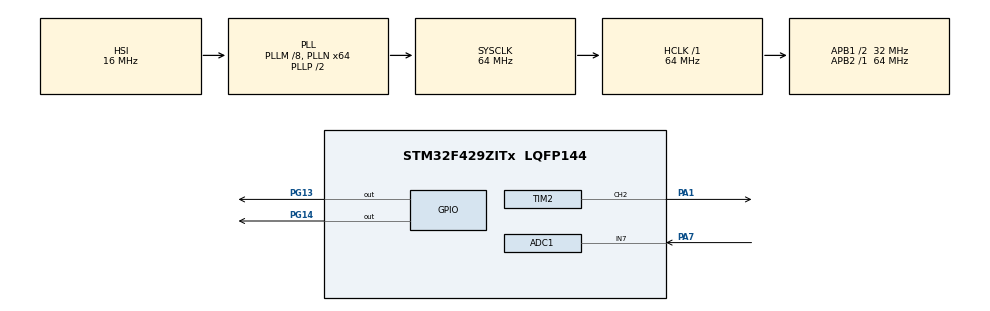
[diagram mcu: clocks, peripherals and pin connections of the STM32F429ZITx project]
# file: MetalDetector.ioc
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ADC1.Channel-0\#ChannelRegularConversion=ADC_CHANNEL_7
ADC1.NbrOfConversionFlag=1
ADC1.Rank-0\#ChannelRegularConversion=1
ADC1.SamplingTime-0\#ChannelRegularConversion=ADC_SAMPLETIME_3CYCLES
ADC1.ScanConvMode=ENABLE
ADC1.master=1
Mcu.Family=STM32F4
Mcu.Name=STM32F429ZITx
Mcu.Package=LQFP144
NVIC.PriorityGroup=NVIC_PRIORITYGROUP_4
NVIC.TIM1_UP_TIM10_IRQn=true\:0\:0\:false\:false\:true\:true
PA1.Signal=S_TIM2_CH2
PA7.Signal=ADCx_IN7
PG13.Signal=GPIO_Output
PG14.Signal=GPIO_Output
PH0/OSC_IN.Mode=HSE-External-Oscillator
PH0/OSC_IN.Signal=RCC_OSC_IN
PH1/OSC_OUT.Mode=HSE-External-Oscillator
PH1/OSC_OUT.Signal=RCC_OSC_OUT
ProjectManager.HeapSize=0x200
ProjectManager.StackSize=0x400
ProjectManager.TargetToolchain=EWARM
RCC.48MHZClocksFreq_Value=32000000
RCC.AHBFreq_Value=64000000
RCC.APB1CLKDivider=RCC_HCLK_DIV2
RCC.APB1Freq_Value=32000000
RCC.APB1TimFreq_Value=64000000
RCC.APB2Freq_Value=64000000
RCC.APB2TimFreq_Value=64000000
RCC.CortexFreq_Value=64000000
RCC.HCLKFreq_Value=64000000
RCC.HSE_VALUE=25000000
RCC.HSI_VALUE=16000000
RCC.LSE_VALUE=32768
RCC.PLLM=8
RCC.PLLN=64
RCC.SYSCLKFreq_VALUE=64000000
RCC.SYSCLKSource=RCC_SYSCLKSOURCE_PLLCLK
RCC.VCOOutputFreq_Value=128000000
SH.ADCx_IN7.0=ADC1_IN7,IN7
SH.S_TIM2_CH2.0=TIM2_CH2,PWM Generation2 CH2
TIM1.Channel-Output\ Compare1\ No\ Output=TIM_CHANNEL_1
TIM1.Period=1999
TIM2.Channel-PWM\ Generation2\ CH2=TIM_CHANNEL_2
TIM2.Period=63999
TIM2.Pulse-PWM\ Generation2\ CH2=31999
VP_TIM1_VS_no_output1.Mode=Output Compare1 No Output
board=MetalDetector

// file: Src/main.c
/**
  ******************************************************************************
  * @file           : main.c
  * @brief          : Main program body
  ******************************************************************************
  ** This notice applies to any and all portions of this file
  * that are not between comment pairs USER CODE BEGIN and
  * USER CODE END. Other portions of this file, whether
  * inserted by the user or by software development tools
  * are owned by their respective copyright owners.
  *
  * COPYRIGHT(c) 2021 STMicroelectronics
  *
  * Redistribution and use in source and binary forms, with or without modification,
  * are permitted provided that the following conditions are met:
  *   1. Redistributions of source code must retain the above copyright notice,
  *      this list of conditions and the following disclaimer.
  *   2. Redistributions in binary form must reproduce the above copyright notice,
  *      this list of conditions and the following disclaimer in the documentation
  *      and/or other materials provided with the distribution.
  *   3. Neither the name of STMicroelectronics nor the names of its contributors
  *      may be used to endorse or promote products derived from this software
  *      without specific prior written permission.
  *
  * THIS SOFTWARE IS PROVIDED BY THE COPYRIGHT HOLDERS AND CONTRIBUTORS "AS IS"
  * AND ANY EXPRESS OR IMPLIED WARRANTIES, INCLUDING, BUT NOT LIMITED TO, THE
  * IMPLIED WARRANTIES OF MERCHANTABILITY AND FITNESS FOR A PARTICULAR PURPOSE ARE
  * DISCLAIMED. IN NO EVENT SHALL THE COPYRIGHT HOLDER OR CONTRIBUTORS BE LIABLE
  * FOR ANY DIRECT, INDIRECT, INCIDENTAL, SPECIAL, EXEMPLARY, OR CONSEQUENTIAL
  * DAMAGES (INCLUDING, BUT NOT LIMITED TO, PROCUREMENT OF SUBSTITUTE GOODS OR
  * SERVICES; LOSS OF USE, DATA, OR PROFITS; OR BUSINESS INTERRUPTION) HOWEVER
  * CAUSED AND ON ANY THEORY OF LIABILITY, WHETHER IN CONTRACT, STRICT LIABILITY,
  * OR TORT (INCLUDING NEGLIGENCE OR OTHERWISE) ARISING IN ANY WAY OUT OF THE USE
  * OF THIS SOFTWARE, EVEN IF ADVISED OF THE POSSIBILITY OF SUCH DAMAGE.
  *
  ******************************************************************************
  */
#include "main.h"
#include "stm32f4xx_hal.h"

#include "stm32f4xx.h"
//#include "stm32f4xx_spi.h"
#include "defines.h"
#include "tm_stm32f4_ili9341_ltdc.h"
#include "tm_stm32f4_fonts.h"
#include "tm_stm32f4_delay.h"

/* USER CODE BEGIN Includes */

#include "fft.h"

/* USER CODE END Includes */

ADC_HandleTypeDef hadc1;

TIM_HandleTypeDef htim1;
TIM_HandleTypeDef htim2;

/* USER CODE BEGIN PV */
/* Private variables ---------------------------------------------------------*/

/* USER CODE END PV */

void SystemClock_Config(void);
static void MX_GPIO_Init(void);
static void MX_ADC1_Init(void);
static void MX_TIM1_Init(void);
static void MX_TIM2_Init(void);

void HAL_TIM_MspPostInit(TIM_HandleTypeDef *htim);

/* USER CODE BEGIN PFP */
/* Private function prototypes -----------------------------------------------*/

/* USER CODE END PFP */

/* USER CODE BEGIN 0 */

#define BufferSize 4096

#define PartSize 1024

#define BinaryLog 12

#define Half BufferSize >> 1

float AdcBuffer[BufferSize];

float ReBuffer[BufferSize];
float ImBuffer[BufferSize];

unsigned int Index = 0;

unsigned int IsReady = 1;

float Sqrt(float x)
{
	if(x <= 0.0f)
	{
		return 0.0f;
	}

	float a = 3.162278f;

	if(x >= 500.0f)
	{
		a = 31.62278f;
	}

	if(x >= 50000.0f)
	{
		a = 316.2278f;
	}

	for(char i=0; i<7; ++i)
	{
		a = 0.5f*(a+x/a);

		if(a*a == x)
		{
      break;
		}
	}

	return a;
}

void SetBuffers()
{
  for(int i=0; i<BufferSize; ++i)
  {
    AdcBuffer[i] = 0.0f;
    ReBuffer[i] = 0.0f;
    ImBuffer[i] = 0.0f;
  }
}

void ShiftAdcBuffer()
{
  for(int i=0; i<BufferSize; ++i)
  {
    ReBuffer[i] = AdcBuffer[i];
    ImBuffer[i] = 0.0f;
  }

  for(int i=0; i<BufferSize-PartSize; ++i)
  {
  	AdcBuffer[i] = AdcBuffer[i+PartSize];
  }

  for(int i=BufferSize-PartSize; i<BufferSize; ++i)
  {
  	AdcBuffer[i] = 0;
  }

  Index = BufferSize-PartSize;
}

void Compute()
{
  if(FFT(ReBuffer, ImBuffer, BufferSize, BinaryLog, FT_DIRECT) == 1)
  {
    HAL_GPIO_WritePin(GPIOG, GPIO_PIN_14, GPIO_PIN_RESET);

    float max = 0.0f;

    float middle = 0.0f;

    int index = 0;

    for(int i=0; i<8; ++i)
    {
      ImBuffer[i] = 0.0;
    }

    for(int i=Half; i<BufferSize; ++i)
    {
      ImBuffer[i] = 0.0;
    }

    for(int i=8; i<Half; ++i)
    {
      float value = Sqrt(ReBuffer[i]*ReBuffer[i] + ImBuffer[i]*ImBuffer[i]);

      middle += value;

      if(value > max)
      {
        max = value;

        index = i;
      }

      ImBuffer[i] = value;
    }

    ImBuffer[0] = max;

    ImBuffer[1] = index;

    ImBuffer[2] = middle;

    ImBuffer[3] = ImBuffer[256];

    middle /= Half;

    HAL_GPIO_WritePin(GPIOG, GPIO_PIN_13, GPIO_PIN_RESET);

    if(ImBuffer[256] > 10.0f*middle)
    {
       HAL_GPIO_WritePin(GPIOG, GPIO_PIN_13, GPIO_PIN_SET);
    }

    //if(index >= 635 && index <= 645)
    //{
    //  HAL_GPIO_WritePin(GPIOG, GPIO_PIN_13, GPIO_PIN_SET);
    //}
  }
  else
  {
    HAL_GPIO_WritePin(GPIOG, GPIO_PIN_14, GPIO_PIN_SET);
  }
}

void UpdateBufferValue()
{
  if(Index == BufferSize)
  {
    if(IsReady)
    {
      IsReady = 0;
      ShiftAdcBuffer();
      Compute();
      IsReady = 1;
    }
  }
  else
  {
    HAL_ADC_Start(&hadc1);
    AdcBuffer[Index] = (unsigned short)HAL_ADC_GetValue(&hadc1);
    HAL_ADC_Stop(&hadc1);
    ++Index;
  }
}

/* USER CODE END 0 */

int main(void)
{
  /* USER CODE BEGIN 1 */

  SetBuffers();

  /* USER CODE END 1 */

  /* MCU Configuration----------------------------------------------------------*/

  /* Reset of all peripherals, Initializes the Flash interface and the Systick. */
  HAL_Init();

  /* Configure the system clock */
  SystemClock_Config();

  /* Initialize all configured peripherals */
  MX_GPIO_Init();
  MX_ADC1_Init();
  MX_TIM1_Init();
  MX_TIM2_Init();
  /* USER CODE BEGIN 2 */

  HAL_TIM_PWM_Start(&htim2, TIM_CHANNEL_2);

  HAL_TIM_Base_Start_IT(&htim1);

  /* USER CODE END 2 */

  /* Infinite loop */
  while (1)
  {

  }

}

void SystemClock_Config(void)
{

  RCC_OscInitTypeDef RCC_OscInitStruct;
  RCC_ClkInitTypeDef RCC_ClkInitStruct;

    /**Configure the main internal regulator output voltage
    */
  __HAL_RCC_PWR_CLK_ENABLE();

  __HAL_PWR_VOLTAGESCALING_CONFIG(PWR_REGULATOR_VOLTAGE_SCALE3);

    /**Initializes the CPU, AHB and APB busses clocks
    */
  RCC_OscInitStruct.OscillatorType = RCC_OSCILLATORTYPE_HSI;
  RCC_OscInitStruct.HSIState = RCC_HSI_ON;
  RCC_OscInitStruct.HSICalibrationValue = 16;
  RCC_OscInitStruct.PLL.PLLState = RCC_PLL_ON;
  RCC_OscInitStruct.PLL.PLLSource = RCC_PLLSOURCE_HSI;
  RCC_OscInitStruct.PLL.PLLM = 8;
  RCC_OscInitStruct.PLL.PLLN = 64;
  RCC_OscInitStruct.PLL.PLLP = RCC_PLLP_DIV2;
  RCC_OscInitStruct.PLL.PLLQ = 4;
  if (HAL_RCC_OscConfig(&RCC_OscInitStruct) != HAL_OK)
  {
    _Error_Handler(__FILE__, __LINE__);
  }

    /**Initializes the CPU, AHB and APB busses clocks
    */
  RCC_ClkInitStruct.ClockType = RCC_CLOCKTYPE_HCLK|RCC_CLOCKTYPE_SYSCLK
                              |RCC_CLOCKTYPE_PCLK1|RCC_CLOCKTYPE_PCLK2;
  RCC_ClkInitStruct.SYSCLKSource = RCC_SYSCLKSOURCE_PLLCLK;
  RCC_ClkInitStruct.AHBCLKDivider = RCC_SYSCLK_DIV1;
  RCC_ClkInitStruct.APB1CLKDivider = RCC_HCLK_DIV2;
  RCC_ClkInitStruct.APB2CLKDivider = RCC_HCLK_DIV1;

  if (HAL_RCC_ClockConfig(&RCC_ClkInitStruct, FLASH_LATENCY_2) != HAL_OK)
  {
    _Error_Handler(__FILE__, __LINE__);
  }

    /**Configure the Systick interrupt time
    */
  HAL_SYSTICK_Config(HAL_RCC_GetHCLKFreq()/1000);

    /**Configure the Systick
    */
  HAL_SYSTICK_CLKSourceConfig(SYSTICK_CLKSOURCE_HCLK);

  /* SysTick_IRQn interrupt configuration */
  HAL_NVIC_SetPriority(SysTick_IRQn, 0, 0);
}

/* ADC1 init function */
static void MX_ADC1_Init(void)
{

  ADC_ChannelConfTypeDef sConfig;

    /**Configure the global features of the ADC (Clock, Resolution, Data Alignment and number of conversion)
    */
  hadc1.Instance = ADC1;
  hadc1.Init.ClockPrescaler = ADC_CLOCK_SYNC_PCLK_DIV2;
  hadc1.Init.Resolution = ADC_RESOLUTION_12B;
  hadc1.Init.ScanConvMode = ENABLE;
  hadc1.Init.ContinuousConvMode = DISABLE;
  hadc1.Init.DiscontinuousConvMode = DISABLE;
  hadc1.Init.ExternalTrigConvEdge = ADC_EXTERNALTRIGCONVEDGE_NONE;
  hadc1.Init.ExternalTrigConv = ADC_SOFTWARE_START;
  hadc1.Init.DataAlign = ADC_DATAALIGN_RIGHT;
  hadc1.Init.NbrOfConversion = 1;
  hadc1.Init.DMAContinuousRequests = DISABLE;
  hadc1.Init.EOCSelection = ADC_EOC_SINGLE_CONV;
  if (HAL_ADC_Init(&hadc1) != HAL_OK)
  {
    _Error_Handler(__FILE__, __LINE__);
  }

    /**Configure for the selected ADC regular channel its corresponding rank in the sequencer and its sample time.
    */
  sConfig.Channel = ADC_CHANNEL_7;
  sConfig.Rank = 1;
  sConfig.SamplingTime = ADC_SAMPLETIME_3CYCLES;
  if (HAL_ADC_ConfigChannel(&hadc1, &sConfig) != HAL_OK)
  {
    _Error_Handler(__FILE__, __LINE__);
  }

}

/* TIM1 init function */
static void MX_TIM1_Init(void)
{

  TIM_MasterConfigTypeDef sMasterConfig;
  TIM_OC_InitTypeDef sConfigOC;
  TIM_BreakDeadTimeConfigTypeDef sBreakDeadTimeConfig;

  htim1.Instance = TIM1;
  htim1.Init.Prescaler = 0;
  htim1.Init.CounterMode = TIM_COUNTERMODE_UP;
  htim1.Init.Period = 1999;
  htim1.Init.ClockDivision = TIM_CLOCKDIVISION_DIV1;
  htim1.Init.RepetitionCounter = 0;
  if (HAL_TIM_OC_Init(&htim1) != HAL_OK)
  {
    _Error_Handler(__FILE__, __LINE__);
  }

  sMasterConfig.MasterOutputTrigger = TIM_TRGO_RESET;
  sMasterConfig.MasterSlaveMode = TIM_MASTERSLAVEMODE_DISABLE;
  if (HAL_TIMEx_MasterConfigSynchronization(&htim1, &sMasterConfig) != HAL_OK)
  {
    _Error_Handler(__FILE__, __LINE__);
  }

  sConfigOC.OCMode = TIM_OCMODE_TIMING;
  sConfigOC.Pulse = 0;
  sConfigOC.OCPolarity = TIM_OCPOLARITY_HIGH;
  sConfigOC.OCNPolarity = TIM_OCNPOLARITY_HIGH;
  sConfigOC.OCFastMode = TIM_OCFAST_DISABLE;
  sConfigOC.OCIdleState = TIM_OCIDLESTATE_RESET;
  sConfigOC.OCNIdleState = TIM_OCNIDLESTATE_RESET;
  if (HAL_TIM_OC_ConfigChannel(&htim1, &sConfigOC, TIM_CHANNEL_1) != HAL_OK)
  {
    _Error_Handler(__FILE__, __LINE__);
  }

  sBreakDeadTimeConfig.OffStateRunMode = TIM_OSSR_DISABLE;
  sBreakDeadTimeConfig.OffStateIDLEMode = TIM_OSSI_DISABLE;
  sBreakDeadTimeConfig.LockLevel = TIM_LOCKLEVEL_OFF;
  sBreakDeadTimeConfig.DeadTime = 0;
  sBreakDeadTimeConfig.BreakState = TIM_BREAK_DISABLE;
  sBreakDeadTimeConfig.BreakPolarity = TIM_BREAKPOLARITY_HIGH;
  sBreakDeadTimeConfig.AutomaticOutput = TIM_AUTOMATICOUTPUT_DISABLE;
  if (HAL_TIMEx_ConfigBreakDeadTime(&htim1, &sBreakDeadTimeConfig) != HAL_OK)
  {
    _Error_Handler(__FILE__, __LINE__);
  }

}

/* TIM2 init function */
static void MX_TIM2_Init(void)
{

  TIM_MasterConfigTypeDef sMasterConfig;
  TIM_OC_InitTypeDef sConfigOC;

  htim2.Instance = TIM2;
  htim2.Init.Prescaler = 0;
  htim2.Init.CounterMode = TIM_COUNTERMODE_UP;
  htim2.Init.Period = 63999;
  htim2.Init.ClockDivision = TIM_CLOCKDIVISION_DIV1;
  if (HAL_TIM_PWM_Init(&htim2) != HAL_OK)
  {
    _Error_Handler(__FILE__, __LINE__);
  }

  sMasterConfig.MasterOutputTrigger = TIM_TRGO_RESET;
  sMasterConfig.MasterSlaveMode = TIM_MASTERSLAVEMODE_DISABLE;
  if (HAL_TIMEx_MasterConfigSynchronization(&htim2, &sMasterConfig) != HAL_OK)
  {
    _Error_Handler(__FILE__, __LINE__);
  }

  sConfigOC.OCMode = TIM_OCMODE_PWM1;
  sConfigOC.Pulse = 31999;
  sConfigOC.OCPolarity = TIM_OCPOLARITY_HIGH;
  sConfigOC.OCFastMode = TIM_OCFAST_DISABLE;
  if (HAL_TIM_PWM_ConfigChannel(&htim2, &sConfigOC, TIM_CHANNEL_2) != HAL_OK)
  {
    _Error_Handler(__FILE__, __LINE__);
  }

  HAL_TIM_MspPostInit(&htim2);

}

/** Configure pins as
        * Analog
        * Input
        * Output
        * EVENT_OUT
        * EXTI
*/
static void MX_GPIO_Init(void)
{

  GPIO_InitTypeDef GPIO_InitStruct;

  /* GPIO Ports Clock Enable */
  __HAL_RCC_GPIOH_CLK_ENABLE();
  __HAL_RCC_GPIOA_CLK_ENABLE();
  __HAL_RCC_GPIOG_CLK_ENABLE();

  /*Configure GPIO pin Output Level */
  HAL_GPIO_WritePin(GPIOG, GPIO_PIN_13|GPIO_PIN_14, GPIO_PIN_RESET);

  /*Configure GPIO pins : PG13 PG14 */
  GPIO_InitStruct.Pin = GPIO_PIN_13|GPIO_PIN_14;
  GPIO_InitStruct.Mode = GPIO_MODE_OUTPUT_PP;
  GPIO_InitStruct.Pull = GPIO_NOPULL;
  GPIO_InitStruct.Speed = GPIO_SPEED_FREQ_LOW;
  HAL_GPIO_Init(GPIOG, &GPIO_InitStruct);

}

void _Error_Handler(char *file, int line)
{
  while(1)
  {
  }
}

/************************ (C) COPYRIGHT STMicroelectronics *****END OF FILE****/
